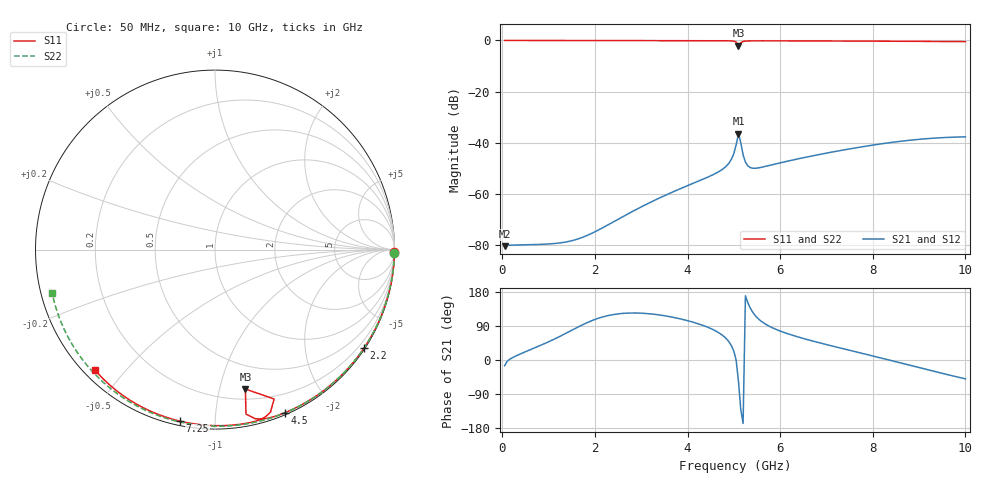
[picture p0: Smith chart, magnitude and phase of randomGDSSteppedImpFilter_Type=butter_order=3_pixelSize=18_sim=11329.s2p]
! freq	dB(S11)	phase(S11)	dB(S12)	phase(S12)
!  dB(S21)	phase(S21)	dB(S22)	phase(S22)
!S-par simulation data
#  GHz  S  DB  R 50
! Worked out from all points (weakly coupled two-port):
!   200 points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, 50 MHz to 10 GHz, reference 50 ohm
!   highest |S21| = -36.52 dB at 5.1 GHz (marker M1); lowest = -80.5 dB at 50 MHz (marker M2)
!   lowest |S11| = -2.0 dB at 5.1 GHz (marker M3), VSWR 8.77, Z = 14.2 - j60.1 ohm
!   |S11| at or under -10 dB: nowhere
!   |S22| runs from -0.6 to 0.0 dB; largest |S21 - S12| = 0
!   S11 on the Smith chart (normalised r, x): 50 MHz: open; 2.2 GHz: 0.03, -3.33; 4.5 GHz: 0.02, -1.52; 7.25 GHz: 0.02, -0.82; 10 GHz: 0.03, -0.42
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0.05  -0.00 -0.8  -80.54 -15.2  -80.54 -15.2  -0.00 -1.0
1.15  -0.02 -17.7  -79.46 56.7  -79.46 56.7  -0.03 -21.8
1.45  -0.03 -22.2  -78.62 75.3  -78.62 75.3  -0.03 -27.4
1.75  -0.03 -26.8  -76.95 94.0  -76.95 94.0  -0.04 -33.0
2.2  -0.04 -33.5  -73.02 114.7  -73.02 114.7  -0.05 -41.2
3.4  -0.07 -51.0  -61.62 118.8  -61.62 118.8  -0.08 -62.4
4.5  -0.10 -66.8  -53.00 83.1  -53.00 83.1  -0.12 -81.0
4.75  -0.12 -70.7  -50.50 65.6  -50.50 65.6  -0.13 -85.1
4.9  -0.15 -73.6  -47.90 47.1  -47.90 47.1  -0.13 -87.5
5  -0.28 -76.7  -44.28 23.3  -44.28 23.3  -0.14 -89.1
5.05  -0.60 -79.3  -40.82 -0.4  -40.82 -0.4  -0.14 -89.9
5.1  -1.99 -77.7  -36.52 -56.6  -36.52 -56.6  -0.15 -90.7
5.15  -0.96 -68.4  -40.01 -131.2  -40.01 -131.2  -0.15 -91.5
5.2  -0.38 -71.2  -44.83 -167.4  -44.83 -167.4  -0.15 -92.3
5.25  -0.24 -73.1  -47.60 169.4  -47.60 169.4  -0.15 -93.1
5.3  -0.19 -74.5  -49.05 151.8  -49.05 151.8  -0.15 -93.9
5.4  -0.16 -76.6  -50.01 127.5  -50.01 127.5  -0.15 -95.5
6.7  -0.18 -94.6  -45.17 50.2  -45.17 50.2  -0.23 -115.5
7.25  -0.22 -101.5  -43.26 33.1  -43.26 33.1  -0.26 -123.8
8.35  -0.29 -115.0  -40.05 0.0  -40.05 0.0  -0.36 -140.2
9.15  -0.37 -124.7  -38.47 -24.6  -38.47 -24.6  -0.44 -152.2
10  -0.47 -134.9  -37.74 -49.7  -37.74 -49.7  -0.55 -165.2
